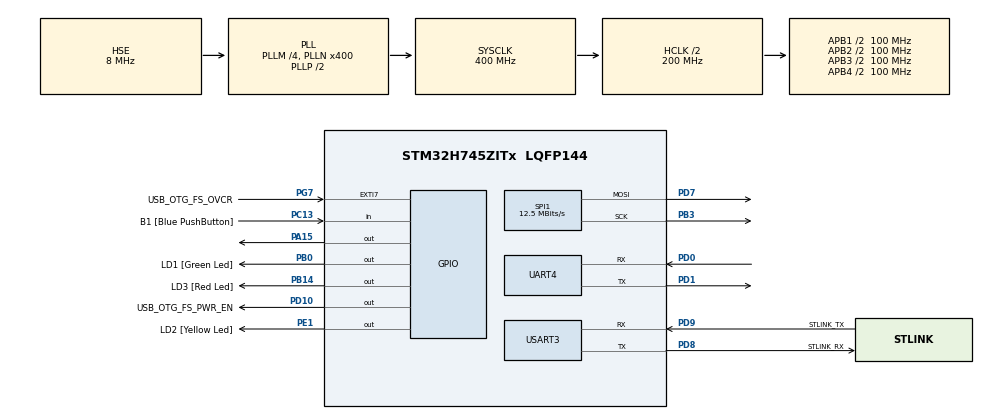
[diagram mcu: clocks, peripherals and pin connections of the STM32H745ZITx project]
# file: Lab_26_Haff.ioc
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CortexM4.IPs=FATFS_M4\:I,FREERTOS_M4\:I,IWDG2\:I,RCC,WWDG2\:I,DMA,BDMA,MDMA,NVIC2\:I,USART3,DEBUG,USB_DEVICE_M4\:I,USB_HOST_M4\:I,PDM2PCM_M4\:I,PWR,RESMGR_UTILITY,SYS_M4\:I,CORTEX_M4\:I,OPENAMP_M4\:I,VREFBUF,GPIO
CortexM7.IPs=FATFS_M7\:I,FREERTOS_M7\:I,IWDG1\:I,RCC\:I,WWDG1\:I,DMA\:I,BDMA\:I,MDMA\:I,NVIC1\:I,SYS\:I,USART3\:I,CORTEX_M7\:I,DEBUG\:I,USB_DEVICE_M7\:I,USB_HOST_M7\:I,PDM2PCM_M7\:I,PWR\:I,RESMGR_UTILITY\:I,OPENAMP_M7\:I,VREFBUF\:I,GPIO\:I,SPI1\:I,UART4\:I,TIM4\:I
CortexM7.Pins=PA15 (JTDI)
Mcu.Family=STM32H7
Mcu.Name=STM32H745ZITx
Mcu.Package=LQFP144
NVIC1.PriorityGroup=NVIC_PRIORITYGROUP_4
NVIC2.PriorityGroup=NVIC_PRIORITYGROUP_4
PA1.PinAttribute=CortexM4
PA1.Signal=ETH_REF_CLK
PA11.PinAttribute=CortexM7
PA11.Signal=USB_OTG_FS_DM
PA12.PinAttribute=CortexM7
PA12.Signal=USB_OTG_FS_DP
PA15\ (JTDI).GPIO_Speed=GPIO_SPEED_FREQ_VERY_HIGH
PA15\ (JTDI).PinAttribute=CortexM7
PA15\ (JTDI).Signal=GPIO_Output
PA2.PinAttribute=CortexM4
PA2.Signal=ETH_MDIO
PA7.PinAttribute=CortexM4
PA7.Signal=ETH_CRS_DV
PA8.PinAttribute=CortexM7
PA8.Signal=USB_OTG_FS_SOF
PA9.PinAttribute=CortexM7
PA9.Signal=USB_OTG_FS_VBUS
PB0.GPIO_Label=LD1 [Green Led]
PB0.PinAttribute=Free
PB0.Signal=GPIO_Output
PB13.PinAttribute=CortexM4
PB13.Signal=ETH_TXD1
PB14.GPIO_Label=LD3 [Red Led]
PB14.PinAttribute=Free
PB14.Signal=GPIO_Output
PB3\ (JTDO/TRACESWO).Mode=TX_Only_Simplex_Unidirect_Master
PB3\ (JTDO/TRACESWO).PinAttribute=CortexM7
PB3\ (JTDO/TRACESWO).Signal=SPI1_SCK
PC1.PinAttribute=CortexM4
PC1.Signal=ETH_MDC
PC13.GPIO_Label=B1 [Blue PushButton]
PC13.PinAttribute=Free
PC13.Signal=GPIO_Input
PC14-OSC32_IN\ (OSC32_IN).Mode=LSE-External-Oscillator
PC14-OSC32_IN\ (OSC32_IN).PinAttribute=CortexM7
PC14-OSC32_IN\ (OSC32_IN).Signal=RCC_OSC32_IN
PC15-OSC32_OUT\ (OSC32_OUT).Mode=LSE-External-Oscillator
PC15-OSC32_OUT\ (OSC32_OUT).PinAttribute=CortexM7
PC15-OSC32_OUT\ (OSC32_OUT).Signal=RCC_OSC32_OUT
PC4.PinAttribute=CortexM4
PC4.Signal=ETH_RXD0
PC5.PinAttribute=CortexM4
PC5.Signal=ETH_RXD1
PD0.Mode=Asynchronous
PD0.PinAttribute=CortexM7
PD0.Signal=UART4_RX
PD1.Mode=Asynchronous
PD1.PinAttribute=CortexM7
PD1.Signal=UART4_TX
PD10.GPIO_Label=USB_OTG_FS_PWR_EN
PD10.PinAttribute=Free
PD10.Signal=GPIO_Output
PD7.Mode=TX_Only_Simplex_Unidirect_Master
PD7.PinAttribute=CortexM7
PD7.Signal=SPI1_MOSI
PD8.GPIO_Label=STLINK_RX
PD8.Mode=Asynchronous
PD8.PinAttribute=CortexM7
PD8.Signal=USART3_TX
PD9.GPIO_Label=STLINK_TX
PD9.Mode=Asynchronous
PD9.PinAttribute=CortexM7
PD9.Signal=USART3_RX
PE1.GPIO_Label=LD2 [Yellow Led]
PE1.PinAttribute=Free
PE1.Signal=GPIO_Output
PG11.PinAttribute=CortexM4
PG11.Signal=ETH_TX_EN
PG13.PinAttribute=CortexM4
PG13.Signal=ETH_TXD0
PG7.GPIO_Label=USB_OTG_FS_OVCR
PG7.PinAttribute=Free
PG7.Signal=GPXTI7
PH0-OSC_IN\ (PH0).Mode=HSE-External-Clock-Source
PH0-OSC_IN\ (PH0).PinAttribute=CortexM7
PH0-OSC_IN\ (PH0).Signal=RCC_OSC_IN
PH1-OSC_OUT\ (PH1).PinAttribute=CortexM7
PH1-OSC_OUT\ (PH1).Signal=RCC_OSC_OUT
ProjectManager.HeapSize=M4-0x200,M7-0x400
ProjectManager.StackSize=M4-0x400,M7-0x800
ProjectManager.TargetToolchain=STM32CubeIDE
RCC.ADCFreq_Value=16125000
RCC.APB1Freq_Value=100000000
RCC.APB2Freq_Value=100000000
RCC.APB3Freq_Value=100000000
RCC.APB4Freq_Value=100000000
RCC.CortexFreq_Value=400000000
RCC.D1PPRE=RCC_APB3_DIV2
RCC.D2PPRE1=RCC_APB1_DIV2
RCC.D2PPRE2=RCC_APB2_DIV2
RCC.D3PPRE=RCC_APB4_DIV2
RCC.DIVM1=4
RCC.DIVM3=1
RCC.DIVN1=400
RCC.DIVN3=18
RCC.DIVQ1=4
RCC.DIVQ3=3
RCC.HCLKFreq_Value=200000000
RCC.HPRE=RCC_HCLK_DIV2
RCC.HSE_VALUE=8000000
RCC.PLL1_VCI_Range-AdvancedSettings=RCC_PLL1VCIRANGE_0
RCC.PLL2FRACN=0
RCC.PLL2_VCI_Range-AdvancedSettings=RCC_PLL2VCIRANGE_0
RCC.PLL3FRACN=6144
RCC.PLL3_VCI_Range-AdvancedSettings=RCC_PLL3VCIRANGE_0
RCC.PLLFRACN=0
RCC.PLLSourceVirtual=RCC_PLLSOURCE_HSE
RCC.SYSCLKFreq_VALUE=400000000
RCC.SYSCLKSource=RCC_SYSCLKSOURCE_PLLCLK
RCC.SupplySource=PWR_DIRECT_SMPS_SUPPLY
RCC.USBCLockSelection=RCC_USBCLKSOURCE_PLL3
RCC.USBFreq_Value=50000000
SPI1.BaudRatePrescaler=SPI_BAUDRATEPRESCALER_16
SPI1.CalculateBaudRate=12.5 MBits/s
SPI1.DataSize=SPI_DATASIZE_16BIT
SPI1.Direction=SPI_DIRECTION_2LINES_TXONLY
SPI1.FirstBit=SPI_FIRSTBIT_LSB
SPI1.Mode=SPI_MODE_MASTER
SPI1.VirtualType=VM_MASTER
USART3.VirtualMode-Asynchronous=VM_ASYNC
VP_SYS_M4_VS_Systick.Mode=SysTick
board=NUCLEO-H745ZI-Q

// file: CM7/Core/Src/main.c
/* USER CODE BEGIN Header */
/**
  ******************************************************************************
  * @file           : main.c
  * @brief          : Main program body
  ******************************************************************************
  * @attention
  *
  * Copyright (c) 2025 STMicroelectronics.
  * All rights reserved.
  *
  * This software is licensed under terms that can be found in the LICENSE file
  * in the root directory of this software component.
  * If no LICENSE file comes with this software, it is provided AS-IS.
  *
  ******************************************************************************
  */
/* USER CODE END Header */
#include "main.h"

/* USER CODE BEGIN Includes */
#include <stdio.h>
/* USER CODE END Includes */

/* USER CODE BEGIN PD */

#ifndef HSEM_ID_0
#define HSEM_ID_0 (0U) /* HW semaphore 0*/
#endif
/* USER CODE END PD */

SPI_HandleTypeDef hspi1;

UART_HandleTypeDef huart4;
UART_HandleTypeDef huart3;

void SystemClock_Config(void);
static void MX_GPIO_Init(void);
static void MX_SPI1_Init(void);
static void MX_USART3_UART_Init(void);
static void MX_UART4_Init(void);
/* USER CODE BEGIN PFP */
#ifdef __GNUC__
/* With GCC/RAISONANCE, small printf (option LD Linker->Libraries->Small printf
   set to 'Yes') calls __io_putchar() */
#define PUTCHAR_PROTOTYPE int __io_putchar(int ch)
#else
#define PUTCHAR_PROTOTYPE int fputc(int ch, FILE *f)
#endif /* __GNUC__ */
/* USER CODE END PFP */

/* USER CODE BEGIN 0 */
uint8_t arrow[8] = {
    0b10000000,
    0b01000000,
    0b00100000,
    0b00010000,
    0b00010000,
    0b00100000,
    0b01000000,
    0b10000000
};

uint8_t digit_0[8] = { // 0
    0b00111100,
    0b01100110,
    0b01101110,
    0b01110110,
    0b01100110,
    0b01100110,
    0b00111100,
    0b00000000
};

uint8_t digit_1[8] = { // 1
    0b00011000,
    0b00111000,
    0b00011000,
    0b00011000,
    0b00011000,
    0b00011000,
    0b01111110,
    0b00000000
};

uint8_t digit_2[8] = { // 2
    0b00111100,
    0b01100110,
    0b00000110,
    0b00001100,
    0b00110000,
    0b01100000,
    0b01111110,
    0b00000000
};

uint8_t digit_3[8] = { // 3
    0b00111100,
    0b01100110,
    0b00000110,
    0b00011100,
    0b00000110,
    0b01100110,
    0b00111100,
    0b00000000
};

uint8_t digit_4[8] = { // 4
    0b00001100,
    0b00011100,
    0b00101100,
    0b01001100,
    0b01111110,
    0b00001100,
    0b00001100,
    0b00000000
};

uint8_t digit_5[8] = { // 5
    0b01111110,
    0b01100000,
    0b01111100,
    0b00000110,
    0b00000110,
    0b01100110,
    0b00111100,
    0b00000000
};

uint8_t digit_6[8] = { // 6
    0b00111100,
    0b01100110,
    0b01100000,
    0b01111100,
    0b01100110,
    0b01100110,
    0b00111100,
    0b00000000
};

uint8_t digit_7[8] = { // 7
    0b01111110,
    0b01100110,
    0b00000110,
    0b00001100,
    0b00011000,
    0b00011000,
    0b00011000,
    0b00000000
};

uint8_t digit_8[8] = { // 8
    0b00111100,
    0b01100110,
    0b01100110,
    0b00111100,
    0b01100110,
    0b01100110,
    0b00111100,
    0b00000000
};

uint8_t digit_9[8] = { // 9
    0b00111100,
    0b01100110,
    0b01100110,
    0b00111110,
    0b00000110,
    0b01100110,
    0b00111100,
    0b00000000
};

uint8_t* digits[] = {
		digit_0,
		digit_1,
		digit_2,
		digit_3,
		digit_4,
		digit_5,
		digit_6,
		digit_7,
		digit_8,
		digit_9,
};

struct {
      uint8_t row;
      uint8_t col;
    } spi_buf; // LSB First !

void draw(uint8_t data) {
	uint8_t* pixels = digits[data];

  for (int col = 0; col < 8; col++)
	  {
		/* Light off all LEDs on entire column */
		spi_buf.row = ~(0x00);
		spi_buf.col = ~(0x00);

		HAL_GPIO_WritePin(MTX_OUTL_GPIO_Port, MTX_OUTL_Pin, GPIO_PIN_RESET);
		HAL_SPI_Transmit(&hspi1, (uint8_t*)&spi_buf, 1, 5000);
		HAL_GPIO_WritePin(MTX_OUTL_GPIO_Port, MTX_OUTL_Pin, GPIO_PIN_SET);

		/* Light on required LEDs on entire column */
		/* Select column */
		uint8_t col_mask = 0b10000000 >> col; // ">>" for LSB
		spi_buf.col = ~col_mask; // "~" because "0" is ON
		/* Select rows corresponding to given column */
		uint8_t rows = 0x00;
		for (int row = 0; row < 8; row++) // get rows state (8-bit variable) corresponding to given column from pixels matrix
		  rows |= (pixels[row] & col_mask) << col >> row;
		spi_buf.row = ~rows;

		HAL_GPIO_WritePin(MTX_OUTL_GPIO_Port, MTX_OUTL_Pin, GPIO_PIN_RESET);
		HAL_SPI_Transmit(&hspi1, (uint8_t*)&spi_buf, 1, 5000);
		HAL_GPIO_WritePin(MTX_OUTL_GPIO_Port, MTX_OUTL_Pin, GPIO_PIN_SET);

		HAL_Delay(1);
	  }
}

/* USER CODE END 0 */

int main(void)
{
/* USER CODE BEGIN Boot_Mode_Sequence_0 */
  int32_t timeout;
/* USER CODE END Boot_Mode_Sequence_0 */

/* USER CODE BEGIN Boot_Mode_Sequence_1 */
  /* Wait until CPU2 boots and enters in stop mode or timeout*/
  timeout = 0xFFFF;
  while((__HAL_RCC_GET_FLAG(RCC_FLAG_D2CKRDY) != RESET) && (timeout-- > 0));
  if ( timeout < 0 )
  {
  Error_Handler();
  }
/* USER CODE END Boot_Mode_Sequence_1 */
  /* MCU Configuration--------------------------------------------------------*/

  /* Reset of all peripherals, Initializes the Flash interface and the Systick. */
  HAL_Init();

  /* Configure the system clock */
  SystemClock_Config();
/* USER CODE BEGIN Boot_Mode_Sequence_2 */
/* When system initialization is finished, Cortex-M7 will release Cortex-M4 by means of
HSEM notification */
/*HW semaphore Clock enable*/
__HAL_RCC_HSEM_CLK_ENABLE();
/*Take HSEM */
HAL_HSEM_FastTake(HSEM_ID_0);
/*Release HSEM in order to notify the CPU2(CM4)*/
HAL_HSEM_Release(HSEM_ID_0,0);
/* wait until CPU2 wakes up from stop mode */
timeout = 0xFFFF;
while((__HAL_RCC_GET_FLAG(RCC_FLAG_D2CKRDY) == RESET) && (timeout-- > 0));
if ( timeout < 0 )
{
Error_Handler();
}
/* USER CODE END Boot_Mode_Sequence_2 */

  /* Initialize all configured peripherals */
  MX_GPIO_Init();
  MX_SPI1_Init();
  MX_USART3_UART_Init();
  MX_UART4_Init();
  /* USER CODE BEGIN 2 */
  draw(0);

  /* USER CODE END 2 */

  /* Infinite loop */
  while (1)
  {

    /* USER CODE BEGIN 3 */
	  uint8_t data;
	  HAL_UART_Receive(&huart4, (uint8_t *)&data, 1, HAL_MAX_DELAY);
	  printf("data: %d\r\n", data);

      draw(data);
  }
  /* USER CODE END 3 */
}

void SystemClock_Config(void)
{
  RCC_OscInitTypeDef RCC_OscInitStruct = {0};
  RCC_ClkInitTypeDef RCC_ClkInitStruct = {0};

  /** Supply configuration update enable
  */
  HAL_PWREx_ConfigSupply(PWR_DIRECT_SMPS_SUPPLY);

  /** Configure the main internal regulator output voltage
  */
  __HAL_PWR_VOLTAGESCALING_CONFIG(PWR_REGULATOR_VOLTAGE_SCALE1);

  while(!__HAL_PWR_GET_FLAG(PWR_FLAG_VOSRDY)) {}

  /** Initializes the RCC Oscillators according to the specified parameters
  * in the RCC_OscInitTypeDef structure.
  */
  RCC_OscInitStruct.OscillatorType = RCC_OSCILLATORTYPE_HSE;
  RCC_OscInitStruct.HSEState = RCC_HSE_BYPASS;
  RCC_OscInitStruct.PLL.PLLState = RCC_PLL_ON;
  RCC_OscInitStruct.PLL.PLLSource = RCC_PLLSOURCE_HSE;
  RCC_OscInitStruct.PLL.PLLM = 4;
  RCC_OscInitStruct.PLL.PLLN = 400;
  RCC_OscInitStruct.PLL.PLLP = 2;
  RCC_OscInitStruct.PLL.PLLQ = 4;
  RCC_OscInitStruct.PLL.PLLR = 2;
  RCC_OscInitStruct.PLL.PLLRGE = RCC_PLL1VCIRANGE_1;
  RCC_OscInitStruct.PLL.PLLVCOSEL = RCC_PLL1VCOWIDE;
  RCC_OscInitStruct.PLL.PLLFRACN = 0;
  if (HAL_RCC_OscConfig(&RCC_OscInitStruct) != HAL_OK)
  {
    Error_Handler();
  }

  /** Initializes the CPU, AHB and APB buses clocks
  */
  RCC_ClkInitStruct.ClockType = RCC_CLOCKTYPE_HCLK|RCC_CLOCKTYPE_SYSCLK
                              |RCC_CLOCKTYPE_PCLK1|RCC_CLOCKTYPE_PCLK2
                              |RCC_CLOCKTYPE_D3PCLK1|RCC_CLOCKTYPE_D1PCLK1;
  RCC_ClkInitStruct.SYSCLKSource = RCC_SYSCLKSOURCE_PLLCLK;
  RCC_ClkInitStruct.SYSCLKDivider = RCC_SYSCLK_DIV1;
  RCC_ClkInitStruct.AHBCLKDivider = RCC_HCLK_DIV2;
  RCC_ClkInitStruct.APB3CLKDivider = RCC_APB3_DIV2;
  RCC_ClkInitStruct.APB1CLKDivider = RCC_APB1_DIV2;
  RCC_ClkInitStruct.APB2CLKDivider = RCC_APB2_DIV2;
  RCC_ClkInitStruct.APB4CLKDivider = RCC_APB4_DIV2;

  if (HAL_RCC_ClockConfig(&RCC_ClkInitStruct, FLASH_LATENCY_2) != HAL_OK)
  {
    Error_Handler();
  }
}

static void MX_SPI1_Init(void)
{

  /* SPI1 parameter configuration*/
  hspi1.Instance = SPI1;
  hspi1.Init.Mode = SPI_MODE_MASTER;
  hspi1.Init.Direction = SPI_DIRECTION_2LINES_TXONLY;
  hspi1.Init.DataSize = SPI_DATASIZE_16BIT;
  hspi1.Init.CLKPolarity = SPI_POLARITY_LOW;
  hspi1.Init.CLKPhase = SPI_PHASE_1EDGE;
  hspi1.Init.NSS = SPI_NSS_SOFT;
  hspi1.Init.BaudRatePrescaler = SPI_BAUDRATEPRESCALER_16;
  hspi1.Init.FirstBit = SPI_FIRSTBIT_LSB;
  hspi1.Init.TIMode = SPI_TIMODE_DISABLE;
  hspi1.Init.CRCCalculation = SPI_CRCCALCULATION_DISABLE;
  hspi1.Init.CRCPolynomial = 0x0;
  hspi1.Init.NSSPMode = SPI_NSS_PULSE_ENABLE;
  hspi1.Init.NSSPolarity = SPI_NSS_POLARITY_LOW;
  hspi1.Init.FifoThreshold = SPI_FIFO_THRESHOLD_01DATA;
  hspi1.Init.TxCRCInitializationPattern = SPI_CRC_INITIALIZATION_ALL_ZERO_PATTERN;
  hspi1.Init.RxCRCInitializationPattern = SPI_CRC_INITIALIZATION_ALL_ZERO_PATTERN;
  hspi1.Init.MasterSSIdleness = SPI_MASTER_SS_IDLENESS_00CYCLE;
  hspi1.Init.MasterInterDataIdleness = SPI_MASTER_INTERDATA_IDLENESS_00CYCLE;
  hspi1.Init.MasterReceiverAutoSusp = SPI_MASTER_RX_AUTOSUSP_DISABLE;
  hspi1.Init.MasterKeepIOState = SPI_MASTER_KEEP_IO_STATE_DISABLE;
  hspi1.Init.IOSwap = SPI_IO_SWAP_DISABLE;
  if (HAL_SPI_Init(&hspi1) != HAL_OK)
  {
    Error_Handler();
  }

}

static void MX_UART4_Init(void)
{

  huart4.Instance = UART4;
  huart4.Init.BaudRate = 115200;
  huart4.Init.WordLength = UART_WORDLENGTH_8B;
  huart4.Init.StopBits = UART_STOPBITS_1;
  huart4.Init.Parity = UART_PARITY_NONE;
  huart4.Init.Mode = UART_MODE_TX_RX;
  huart4.Init.HwFlowCtl = UART_HWCONTROL_NONE;
  huart4.Init.OverSampling = UART_OVERSAMPLING_16;
  huart4.Init.OneBitSampling = UART_ONE_BIT_SAMPLE_DISABLE;
  huart4.Init.ClockPrescaler = UART_PRESCALER_DIV1;
  huart4.AdvancedInit.AdvFeatureInit = UART_ADVFEATURE_NO_INIT;
  if (HAL_UART_Init(&huart4) != HAL_OK)
  {
    Error_Handler();
  }
  if (HAL_UARTEx_SetTxFifoThreshold(&huart4, UART_TXFIFO_THRESHOLD_1_8) != HAL_OK)
  {
    Error_Handler();
  }
  if (HAL_UARTEx_SetRxFifoThreshold(&huart4, UART_RXFIFO_THRESHOLD_1_8) != HAL_OK)
  {
    Error_Handler();
  }
  if (HAL_UARTEx_DisableFifoMode(&huart4) != HAL_OK)
  {
    Error_Handler();
  }

}

static void MX_USART3_UART_Init(void)
{

  huart3.Instance = USART3;
  huart3.Init.BaudRate = 115200;
  huart3.Init.WordLength = UART_WORDLENGTH_8B;
  huart3.Init.StopBits = UART_STOPBITS_1;
  huart3.Init.Parity = UART_PARITY_NONE;
  huart3.Init.Mode = UART_MODE_TX_RX;
  huart3.Init.HwFlowCtl = UART_HWCONTROL_NONE;
  huart3.Init.OverSampling = UART_OVERSAMPLING_16;
  huart3.Init.OneBitSampling = UART_ONE_BIT_SAMPLE_DISABLE;
  huart3.Init.ClockPrescaler = UART_PRESCALER_DIV1;
  huart3.AdvancedInit.AdvFeatureInit = UART_ADVFEATURE_NO_INIT;
  if (HAL_UART_Init(&huart3) != HAL_OK)
  {
    Error_Handler();
  }
  if (HAL_UARTEx_SetTxFifoThreshold(&huart3, UART_TXFIFO_THRESHOLD_1_8) != HAL_OK)
  {
    Error_Handler();
  }
  if (HAL_UARTEx_SetRxFifoThreshold(&huart3, UART_RXFIFO_THRESHOLD_1_8) != HAL_OK)
  {
    Error_Handler();
  }
  if (HAL_UARTEx_DisableFifoMode(&huart3) != HAL_OK)
  {
    Error_Handler();
  }

}

static void MX_GPIO_Init(void)
{
  GPIO_InitTypeDef GPIO_InitStruct = {0};

  /* GPIO Ports Clock Enable */
  __HAL_RCC_GPIOC_CLK_ENABLE();
  __HAL_RCC_GPIOH_CLK_ENABLE();
  __HAL_RCC_GPIOD_CLK_ENABLE();
  __HAL_RCC_GPIOA_CLK_ENABLE();
  __HAL_RCC_GPIOB_CLK_ENABLE();

  /*Configure GPIO pin Output Level */
  HAL_GPIO_WritePin(GPIOA, GPIO_PIN_15, GPIO_PIN_RESET);

  /*Configure GPIO pin : PA15 */
  GPIO_InitStruct.Pin = GPIO_PIN_15;
  GPIO_InitStruct.Mode = GPIO_MODE_OUTPUT_PP;
  GPIO_InitStruct.Pull = GPIO_NOPULL;
  GPIO_InitStruct.Speed = GPIO_SPEED_FREQ_VERY_HIGH;
  HAL_GPIO_Init(GPIOA, &GPIO_InitStruct);

}

/* USER CODE BEGIN 4 */
/**
  * @brief  Retargets the C library printf function to the USART.
  * @param  None
  * @retval None
  */
PUTCHAR_PROTOTYPE
{
  /* Place your implementation of fputc here */
  /* e.g. write a character to the USARTx and Loop until the end of transmission */
  HAL_UART_Transmit(&huart3, (uint8_t *)&ch, 1, HAL_MAX_DELAY);

  return ch;
}
/* USER CODE END 4 */

void Error_Handler(void)
{
  __disable_irq();
  while (1)
  {
  }
}
